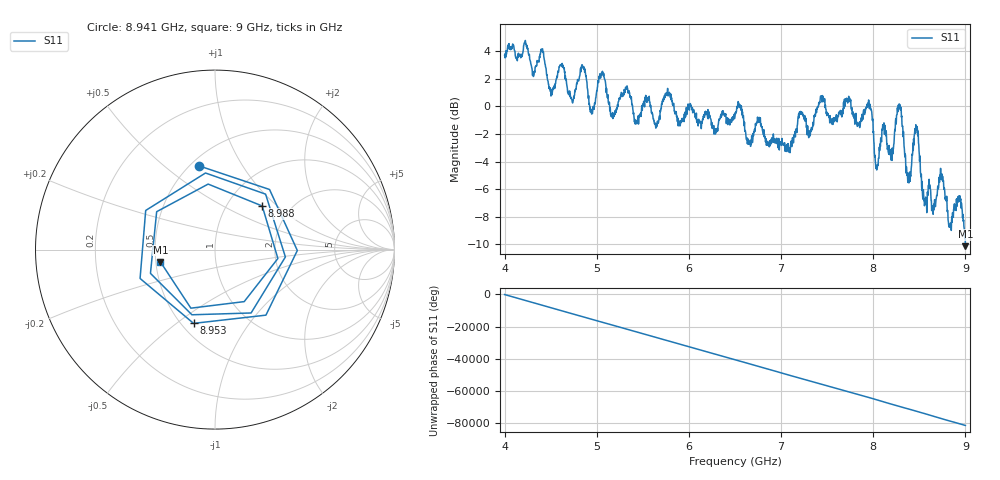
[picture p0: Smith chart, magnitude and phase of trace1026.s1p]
! Created with skrf 1.8.0 (http://scikit-rf.org).
# Hz S RI R 50.0
!freq ReS11 ImS11
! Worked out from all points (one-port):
!   1601 points, 4 GHz to 9 GHz, reference 50 ohm
!   lowest |S11| = -10.1 dB at 9 GHz (marker M1), VSWR 1.91, Z = 26.5 - j4.03 ohm
!   |S11| at or under -10 dB: 8.999642 GHz to end of sweep
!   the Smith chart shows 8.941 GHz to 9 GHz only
!   S11 on the Smith chart (normalised r, x): 8.941 GHz: 0.55, +0.67; 8.953 GHz: 0.57, -0.58; 8.988 GHz: 1.45, +0.81; 9 GHz: 0.53, -0.08
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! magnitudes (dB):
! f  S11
! 4 GHz  3.7
! 4.409 GHz  4.2
! 4.506 GHz  1.0
! 4.625 GHz  3.1
! 4.734 GHz  0.3
! 4.856 GHz  2.9
! 4.947 GHz  -0.5
! 5.05 GHz  2.3
! 5.166 GHz  -0.5
! 5.25 GHz  0.6
! 5.875 GHz  -1.1
! 6.5 GHz  -0.7
! 7.125 GHz  -2.3
! 7.434 GHz  0.6
! 7.75 GHz  0.3
! 7.959 GHz  -0.2
! 8.038 GHz  -4.6
! 8.116 GHz  -1.2
! 8.2 GHz  -3.5
! 8.284 GHz  -0.1
! 8.375 GHz  -5.5
! 8.469 GHz  -1.5
! 8.559 GHz  -7.0
! 8.738 GHz  -5.0
! 8.941 GHz  -6.5
! 8.953 GHz  -7.4
! 8.988 GHz  -8.9
! 9 GHz  -10.1
